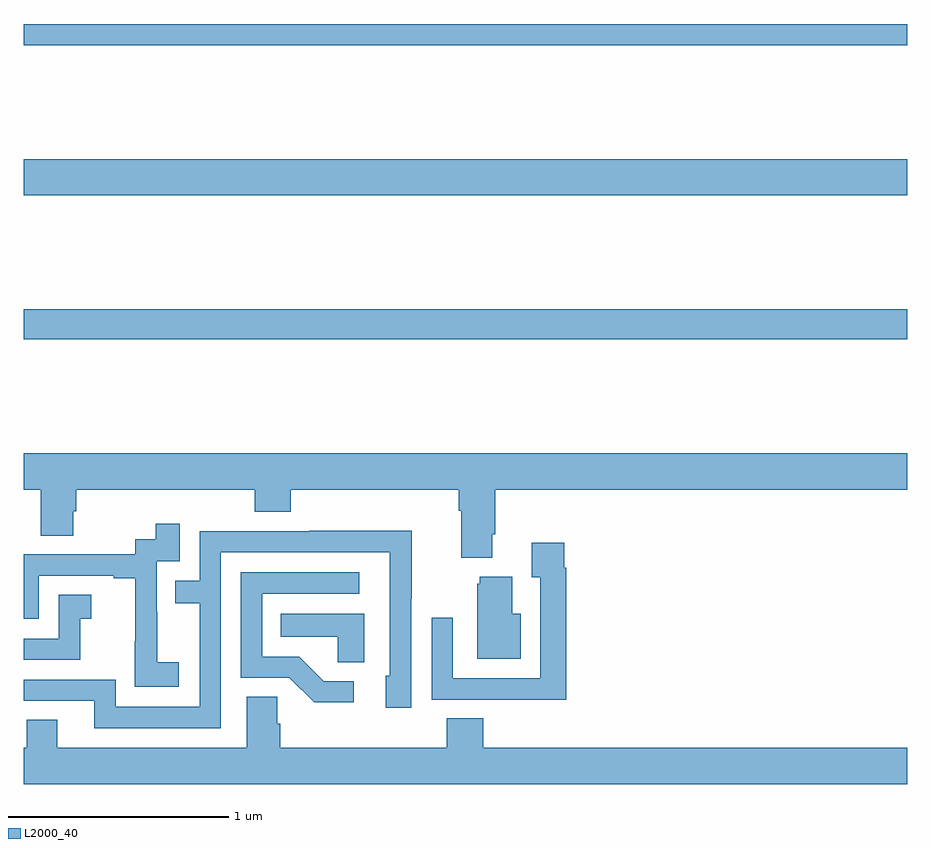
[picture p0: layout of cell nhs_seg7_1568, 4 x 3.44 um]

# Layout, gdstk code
import gdstk
lib = gdstk.Library(unit=1e-6, precision=1e-09)
def R(c, l, rs):  # rectangles x0, y0, x1, y1
    for r in rs: c.add(gdstk.rectangle(r[:2], r[2:], *l))
def P(c, l, *ps):  # polygons
    for p in ps: c.add(gdstk.Polygon(p, *l))
L2000_40 = (2000, 40)

nhs_seg7_1568 = lib.new_cell('nhs_seg7_1568')
R(nhs_seg7_1568, L2000_40, [(217,1058.572,221,1058.708), (217,1059.224,221,1059.388), (217,1059.904,221,1060)])
P(nhs_seg7_1568, L2000_40, [(219.121,1057.69),(219.134,1057.69),(219.134,1057.892),(221,1057.892),(221,1058.056),(217,1058.056),(217,1057.892),(217.078,1057.892),(217.078,1057.684),(217.225,1057.684),(217.225,1057.794),(217.238,1057.794),(217.238,1057.892),(218.045,1057.892),(218.045,1057.793),(218.21,1057.793),(218.21,1057.892),(218.969,1057.892),(218.969,1057.796),(218.981,1057.796),(218.981,1057.583),(219.121,1057.583)],
  [(217.702,1057.111),(217.604,1057.111),(217.604,1057.34),(217.602,1057.34),(217.602,1057.569),(217.707,1057.569),(217.707,1057.738),(217.599,1057.738),(217.599,1057.668),(217.506,1057.668),(217.506,1057.599),(217,1057.599),(217,1057.308),(217.068,1057.308),(217.068,1057.503),(217.409,1057.503),(217.409,1057.491),(217.505,1057.491),(217.505,1057.207),(217.504,1057.207),(217.504,1057.001),(217.702,1057.001)],
  [(217.893,1057.608),(218.658,1057.608),(218.658,1057.05),(218.639,1057.05),(218.639,1056.906),(218.754,1056.906),(218.754,1057.399),(218.757,1057.399),(218.757,1057.706),(218.293,1057.706),(218.293,1057.704),(217.797,1057.704),(217.797,1057.479),(217.687,1057.479),(217.687,1057.378),(217.797,1057.378),(217.797,1056.909),(217.416,1056.909),(217.416,1057.032),(217,1057.032),(217,1056.936),(217.319,1056.936),(217.319,1056.813),(217.893,1056.813)],
  [(219.455,1057.538),(219.448,1057.538),(219.448,1057.651),(219.299,1057.651),(219.299,1057.495),(219.339,1057.495),(219.339,1057.038),(218.943,1057.038),(218.943,1057.312),(218.847,1057.312),(218.847,1056.942),(219.163,1056.942),(219.163,1056.941),(219.455,1056.941)],
  [(218.494,1057.026),(218.359,1057.026),(218.248,1057.137),(218.079,1057.137),(218.079,1057.422),(218.518,1057.422),(218.518,1057.518),(217.983,1057.518),(217.983,1057.041),(218.202,1057.041),(218.315,1056.929),(218.494,1056.929)],
  [(219.25,1057.33),(219.211,1057.33),(219.211,1057.498),(219.065,1057.498),(219.065,1057.467),(219.053,1057.467),(219.053,1057.127),(219.25,1057.127)],
  [(217.257,1057.307),(217.306,1057.307),(217.306,1057.417),(217.158,1057.417),(217.158,1057.218),(217,1057.218),(217,1057.122),(217.257,1057.122)],
  [(218.542,1057.33),(218.164,1057.33),(218.164,1057.226),(218.421,1057.226),(218.421,1057.111),(218.542,1057.111)],
  [(221,1056.724),(219.08,1056.724),(219.08,1056.857),(218.915,1056.857),(218.915,1056.724),(218.162,1056.724),(218.162,1056.833),(218.148,1056.833),(218.148,1056.956),(218.009,1056.956),(218.009,1056.724),(217.153,1056.724),(217.153,1056.851),(217.014,1056.851),(217.014,1056.724),(217,1056.724),(217,1056.56),(221,1056.56)])

lib.write_gds('nhs_seg7_1568.gds')
